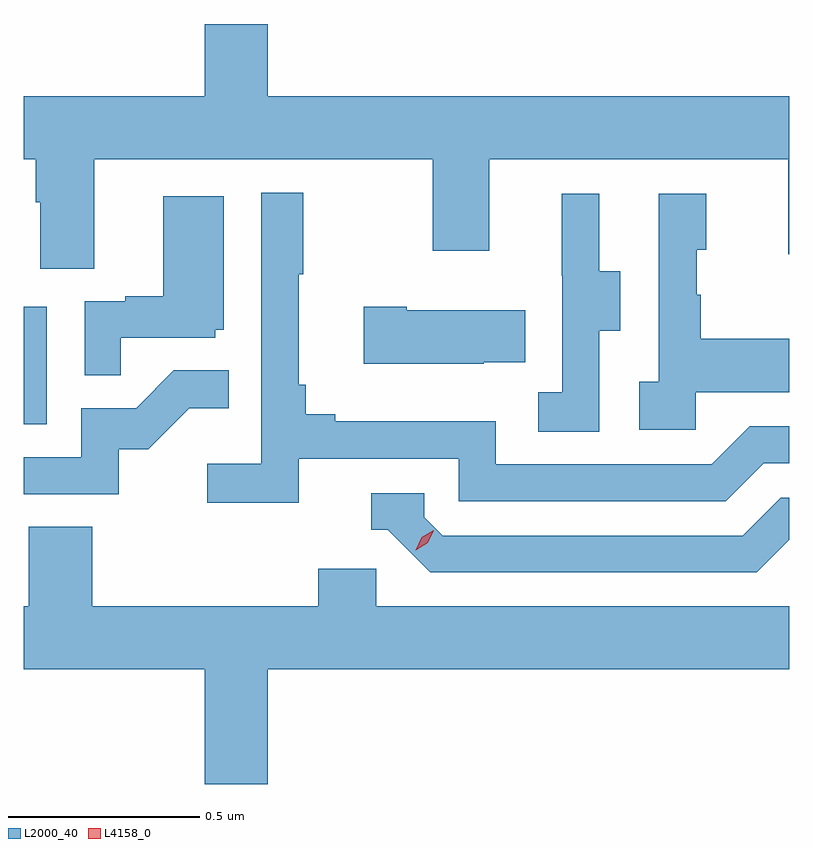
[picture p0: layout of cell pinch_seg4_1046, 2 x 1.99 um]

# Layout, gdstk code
import gdstk
lib = gdstk.Library(unit=1e-6, precision=1e-09)
def R(c, l, rs):  # rectangles x0, y0, x1, y1
    for r in rs: c.add(gdstk.rectangle(r[:2], r[2:], *l))
def P(c, l, *ps):  # polygons
    for p in ps: c.add(gdstk.Polygon(p, *l))
L2000_40 = (2000, 40)
L4158_0 = (4158, 0)

pinch_seg4_1046 = lib.new_cell('pinch_seg4_1046')
R(pinch_seg4_1046, L2000_40, [(799.899,781.476,799.96,781.783)])
P(pinch_seg4_1046, L2000_40, [(800.083,782.168),(800.968,782.168),(800.968,781.929),(801.115,781.929),(801.115,782.168),(801.896,782.168),(801.896,781.92),(801.899,781.92),(801.899,782.332),(800.536,782.332),(800.536,782.521),(800.372,782.521),(800.372,782.332),(799.899,782.332),(799.899,782.168),(799.931,782.168),(799.931,782.056),(799.943,782.056),(799.943,781.882),(800.083,781.882)],
  [(800.618,781.386),(801.036,781.386),(801.036,781.275),(801.733,781.275),(801.832,781.374),(801.899,781.374),(801.899,781.47),(801.795,781.47),(801.696,781.371),(801.132,781.371),(801.132,781.483),(800.713,781.483),(800.713,781.502),(800.636,781.502),(800.636,781.579),(800.617,781.579),(800.617,781.867),(800.629,781.867),(800.629,782.08),(800.52,782.08),(800.52,781.372),(800.379,781.372),(800.379,781.27),(800.618,781.27)],
  [(801.402,781.72),(801.457,781.72),(801.457,781.875),(801.403,781.875),(801.403,782.077),(801.305,782.077),(801.305,781.863),(801.306,781.863),(801.306,781.559),(801.243,781.559),(801.243,781.456),(801.402,781.456)],
  [(801.654,781.559),(801.899,781.559),(801.899,781.699),(801.667,781.699),(801.667,781.814),(801.657,781.814),(801.657,781.932),(801.682,781.932),(801.682,782.077),(801.558,782.077),(801.558,781.586),(801.507,781.586),(801.507,781.461),(801.654,781.461)],
  [(800.153,781.701),(800.4,781.701),(800.4,781.722),(800.422,781.722),(800.422,782.071),(800.264,782.071),(800.264,781.81),(800.165,781.81),(800.165,781.797),(800.058,781.797),(800.058,781.603),(800.153,781.603)],
  [(801.101,781.637),(801.209,781.637),(801.209,781.774),(800.899,781.774),(800.899,781.782),(800.787,781.782),(800.787,781.634),(801.101,781.634)],
  [(800.148,781.41),(800.224,781.41),(800.331,781.517),(800.435,781.517),(800.435,781.616),(800.291,781.616),(800.193,781.518),(800.049,781.518),(800.049,781.389),(799.899,781.389),(799.899,781.293),(800.148,781.293)],
  [(801.899,781.174),(801.899,781.284),(801.876,781.284),(801.777,781.185),(800.994,781.185),(800.946,781.233),(800.946,781.296),(800.807,781.296),(800.807,781.2),(800.85,781.2),(800.961,781.089),(801.814,781.089)],
  [(800.536,780.836),(801.899,780.836),(801.899,781),(800.82,781),(800.82,781.098),(800.669,781.098),(800.669,781),(800.078,781),(800.078,781.208),(799.913,781.208),(799.913,781),(799.899,781),(799.899,780.836),(800.372,780.836),(800.372,780.536),(800.536,780.536)])
P(pinch_seg4_1046, L4158_0, [(800.923,781.147),(800.923,781.147),(800.939,781.18),(800.97,781.199),(800.97,781.199),(800.97,781.199),(800.954,781.166),(800.923,781.147)])

lib.write_gds('pinch_seg4_1046.gds')
